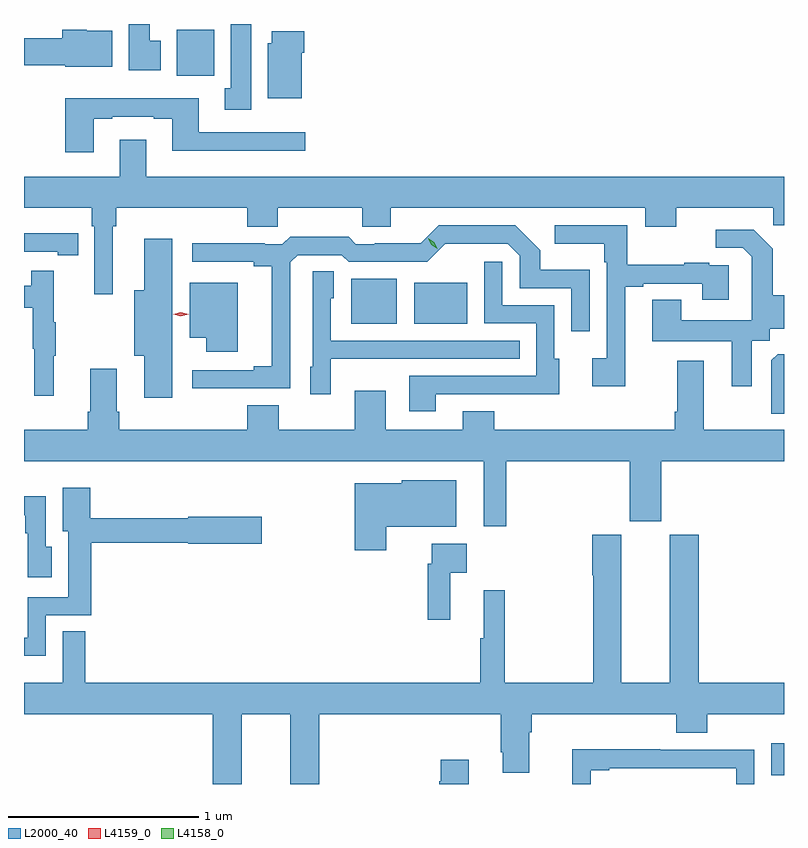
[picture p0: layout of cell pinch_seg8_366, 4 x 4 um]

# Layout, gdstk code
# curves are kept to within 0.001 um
import gdstk
lib = gdstk.Library(unit=1e-6, precision=1e-09)
def R(c, l, rs):  # rectangles x0, y0, x1, y1
    for r in rs: c.add(gdstk.rectangle(r[:2], r[2:], *l))
def P(c, l, *ps):  # polygons
    for p in ps: c.add(gdstk.Polygon(p, *l))
L2000_40 = (2000, 40)
L4158_0 = (4158, 0)
L4159_0 = (4159, 0)

pinch_seg8_366 = lib.new_cell('pinch_seg8_366')
R(pinch_seg8_366, L2000_40, [(404.403,1102.857,404.469,1103.026), (402.191,1105.235,402.43,1105.471), (402.524,1105.235,402.802,1105.45), (401.273,1106.54,401.47,1106.782)])
P(pinch_seg8_366, L2000_40, [(401.188,1106.724),(401.131,1106.724),(401.131,1106.812),(401.021,1106.812),(401.021,1106.568),(401.188,1106.568)],
  [(401.665,1106.812),(401.558,1106.812),(401.558,1106.474),(401.525,1106.474),(401.525,1106.361),(401.665,1106.361)],
  [(400.933,1106.776),(400.8,1106.776),(400.8,1106.782),(400.67,1106.782),(400.67,1106.736),(400.469,1106.736),(400.469,1106.594),(400.686,1106.594),(400.686,1106.588),(400.933,1106.588)],
  [(401.932,1106.66),(401.945,1106.66),(401.945,1106.773),(401.774,1106.773),(401.774,1106.712),(401.753,1106.712),(401.753,1106.42),(401.932,1106.42)],
  [(400.837,1106.313),(400.933,1106.313),(400.933,1106.325),(401.153,1106.325),(401.153,1106.313),(401.249,1106.313),(401.249,1106.144),(401.95,1106.144),(401.95,1106.241),(401.389,1106.241),(401.389,1106.422),(400.685,1106.422),(400.685,1106.136),(400.837,1106.136)],
  [(400.936,1105.748),(400.955,1105.748),(400.955,1105.844),(401.645,1105.844),(401.645,1105.746),(401.805,1105.746),(401.805,1105.844),(402.25,1105.844),(402.25,1105.746),(402.4,1105.746),(402.4,1105.844),(403.739,1105.844),(403.739,1105.745),(403.903,1105.745),(403.903,1105.844),(404.413,1105.844),(404.413,1105.754),(404.469,1105.754),(404.469,1106.008),(401.113,1106.008),(401.113,1106.203),(400.973,1106.203),(400.973,1106.008),(400.469,1106.008),(400.469,1105.844),(400.826,1105.844),(400.826,1105.748),(400.839,1105.748),(400.839,1105.389),(400.936,1105.389)],
  [(403.633,1105.428),(403.729,1105.428),(403.729,1105.446),(404.039,1105.446),(404.039,1105.362),(404.179,1105.362),(404.179,1105.542),(404.075,1105.542),(404.075,1105.555),(403.943,1105.555),(403.943,1105.544),(403.645,1105.544),(403.645,1105.752),(403.263,1105.752),(403.263,1105.655),(403.524,1105.655),(403.524,1105.559),(403.536,1105.559),(403.536,1105.054),(403.461,1105.054),(403.461,1104.906),(403.633,1104.906)],
  [(401.871,1105.557),(401.91,1105.596),(402.141,1105.596),(402.177,1105.56),(402.591,1105.56),(402.686,1105.655),(403.014,1105.656),(403.077,1105.593),(403.077,1105.422),(403.35,1105.422),(403.35,1105.194),(403.446,1105.194),(403.446,1105.519),(403.185,1105.519),(403.185,1105.622),(403.054,1105.752),(402.651,1105.752),(402.557,1105.658),(402.316,1105.658),(402.316,1105.653),(402.216,1105.653),(402.177,1105.693),(401.869,1105.693),(401.829,1105.653),(401.735,1105.653),(401.735,1105.658),(401.355,1105.658),(401.355,1105.56),(401.678,1105.56),(401.678,1105.538),(401.774,1105.538),(401.774,1105.01),(401.678,1105.01),(401.678,1104.99),(401.355,1104.99),(401.355,1104.894),(401.871,1104.894)],
  [(404.299,1105.144),(404.394,1105.144),(404.394,1105.208),(404.469,1105.208),(404.469,1105.384),(404.409,1105.384),(404.409,1105.629),(404.309,1105.729),(404.109,1105.729),(404.109,1105.635),(404.253,1105.635),(404.3,1105.588),(404.3,1105.493),(404.298,1105.493),(404.298,1105.252),(403.927,1105.252),(403.927,1105.361),(403.775,1105.361),(403.775,1105.142),(404.195,1105.142),(404.195,1104.906),(404.299,1104.906)],
  [(400.754,1105.71),(400.646,1105.71),(400.646,1105.711),(400.469,1105.711),(400.469,1105.614),(400.646,1105.614),(400.646,1105.594),(400.754,1105.594)],
  [(401.248,1105.681),(401.102,1105.681),(401.102,1105.411),(401.048,1105.411),(401.048,1105.067),(401.102,1105.067),(401.102,1104.846),(401.248,1104.846)],
  [(402.637,1104.864),(403.067,1104.864),(403.067,1104.863),(403.285,1104.863),(403.285,1105.05),(403.26,1105.05),(403.26,1105.332),(402.987,1105.332),(402.987,1105.561),(402.891,1105.561),(402.891,1105.236),(403.164,1105.236),(403.164,1104.96),(402.497,1104.96),(402.497,1104.774),(402.637,1104.774)],
  [(400.625,1105.067),(400.636,1105.067),(400.636,1105.241),(400.625,1105.241),(400.625,1105.513),(400.507,1105.513),(400.507,1105.434),(400.469,1105.434),(400.469,1105.318),(400.515,1105.318),(400.515,1105.104),(400.522,1105.104),(400.522,1104.855),(400.625,1104.855)],
  [(402.084,1105.049),(402.401,1105.049),(402.401,1105.05),(403.079,1105.05),(403.079,1105.146),(402.084,1105.146),(402.084,1105.368),(402.1,1105.368),(402.1,1105.511),(401.988,1105.511),(401.988,1105.008),(401.975,1105.008),(401.975,1104.864),(402.084,1104.864)],
  [(401.593,1105.45),(401.342,1105.45),(401.342,1105.16),(401.429,1105.16),(401.429,1105.088),(401.593,1105.088)],
  [(404.469,1105.073),(404.435,1105.073),(404.403,1105.041),(404.403,1104.761),(404.469,1104.761)],
  [(403.007,1104.512),(403.658,1104.512),(403.658,1104.195),(403.822,1104.195),(403.822,1104.512),(404.469,1104.512),(404.469,1104.676),(404.047,1104.676),(404.047,1105.039),(403.907,1105.039),(403.907,1104.772),(403.895,1104.772),(403.895,1104.676),(402.943,1104.676),(402.943,1104.775),(402.779,1104.775),(402.779,1104.676),(402.373,1104.676),(402.373,1104.883),(402.209,1104.883),(402.209,1104.676),(401.809,1104.676),(401.809,1104.805),(401.645,1104.805),(401.645,1104.676),(400.97,1104.676),(400.97,1104.772),(400.957,1104.772),(400.957,1104.997),(400.817,1104.997),(400.817,1104.772),(400.805,1104.772),(400.805,1104.676),(400.469,1104.676),(400.469,1104.512),(402.89,1104.512),(402.89,1104.168),(403.007,1104.168)],
  [(402.376,1104.167),(402.745,1104.167),(402.745,1104.412),(402.456,1104.412),(402.456,1104.394),(402.211,1104.394),(402.211,1104.042),(402.376,1104.042)],
  [(400.584,1103.7),(400.822,1103.7),(400.822,1104.082),(401.334,1104.082),(401.334,1104.077),(401.719,1104.077),(401.719,1104.219),(401.334,1104.219),(401.334,1104.211),(400.817,1104.211),(400.817,1104.37),(400.673,1104.37),(400.673,1104.141),(400.703,1104.141),(400.703,1103.796),(400.488,1103.796),(400.488,1103.583),(400.469,1103.583),(400.469,1103.486),(400.584,1103.486)],
  [(400.615,1104.06),(400.584,1104.06),(400.584,1104.326),(400.469,1104.326),(400.469,1104.227),(400.476,1104.227),(400.476,1104.131),(400.488,1104.131),(400.488,1103.901),(400.615,1103.901)],
  [(403,1103.833),(402.89,1103.833),(402.89,1103.58),(402.871,1103.58),(402.871,1103.344),(400.792,1103.344),(400.792,1103.615),(400.673,1103.615),(400.673,1103.344),(400.469,1103.344),(400.469,1103.18),(401.462,1103.18),(401.462,1102.812),(401.614,1102.812),(401.614,1103.18),(401.87,1103.18),(401.87,1102.812),(402.023,1102.812),(402.023,1103.18),(402.977,1103.18),(402.977,1102.978),(402.989,1102.978),(402.989,1102.871),(403.129,1102.871),(403.129,1103.084),(403.142,1103.084),(403.142,1103.18),(403.901,1103.18),(403.901,1103.081),(404.066,1103.081),(404.066,1103.18),(404.469,1103.18),(404.469,1103.344),(404.021,1103.344),(404.021,1104.123),(403.868,1104.123),(403.868,1103.344),(403.612,1103.344),(403.612,1104.123),(403.46,1104.123),(403.46,1103.911),(403.465,1103.911),(403.465,1103.344),(403,1103.344)],
  [(402.713,1103.924),(402.799,1103.924),(402.799,1104.076),(402.615,1104.076),(402.615,1103.972),(402.595,1103.972),(402.595,1103.676),(402.713,1103.676)],
  [(403.452,1102.884),(403.549,1102.884),(403.549,1102.896),(404.217,1102.896),(404.217,1102.812),(404.313,1102.812),(404.313,1102.992),(403.817,1102.992),(403.817,1102.994),(403.354,1102.994),(403.354,1102.812),(403.452,1102.812)],
  [(402.811,1102.939),(402.663,1102.939),(402.663,1102.826),(402.655,1102.826),(402.655,1102.812),(402.811,1102.812)])
P(pinch_seg8_366, L4158_0, [(402.644,1105.629),(402.612,1105.65),(402.596,1105.683),(402.596,1105.684),(402.596,1105.684),(402.627,1105.663),(402.644,1105.63),(402.644,1105.629)])
P(pinch_seg8_366, L4159_0, [(401.294,1105.274),(401.254,1105.284),(401.253,1105.284),(401.254,1105.284),(401.294,1105.294),(401.335,1105.284),(401.335,1105.284),(401.335,1105.284)])

lib.write_gds('pinch_seg8_366.gds')
